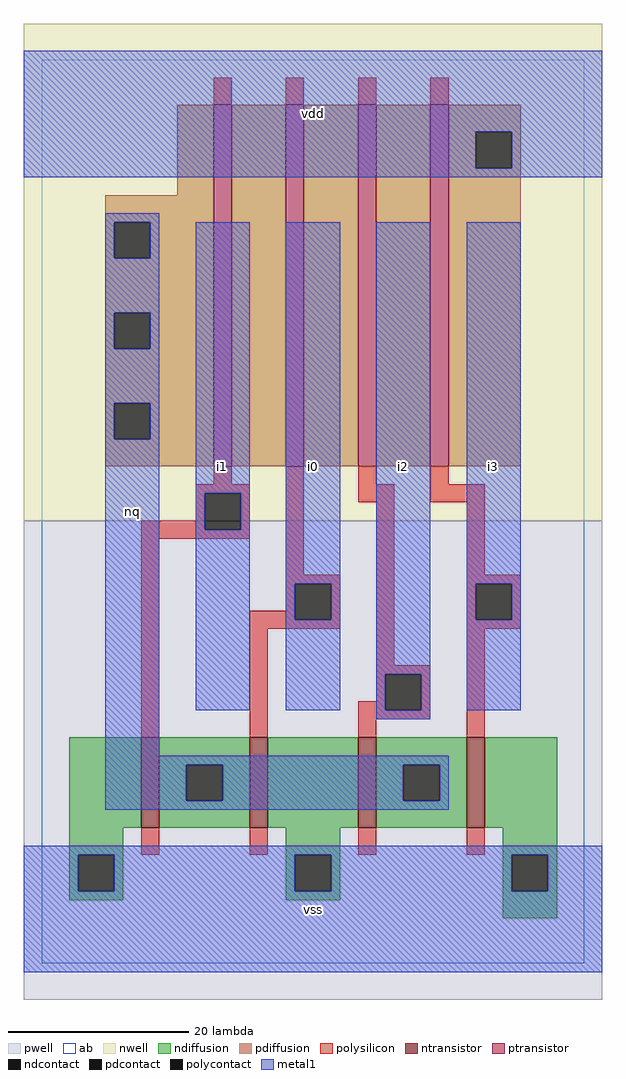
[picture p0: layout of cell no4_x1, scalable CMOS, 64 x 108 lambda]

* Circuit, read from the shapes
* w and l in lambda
.subckt no4_x1 i0 i1 i2 i3 nq vdd vss
M1 nq i1 vss VSUBS nfet w=10 l=2
M2 vss i0 nq VSUBS nfet w=10 l=2
M3 nq i2 vss VSUBS nfet w=10 l=2
M4 vss i3 nq VSUBS nfet w=10 l=2
M5 n1 i1 nq n2 pfet w=40 l=2
M6 n3 i0 n1 n2 pfet w=40 l=2
M7 n4 i2 n3 n2 pfet w=40 l=2
M8 vdd i3 n4 n2 pfet w=40 l=2
.ends

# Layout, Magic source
magic
tech scmos
<< ab >>
rect 0 0 60 100
<< pwell >>
rect -2 -4 62 49
<< nwell >>
rect -2 49 62 104
<< polysilicon >>
rect 19 95 21 98
rect 27 95 29 98
rect 35 95 37 98
rect 43 95 45 98
rect 19 53 21 55
rect 17 52 23 53
rect 17 49 18 52
rect 11 48 18 49
rect 22 48 23 52
rect 11 47 23 48
rect 11 25 13 47
rect 27 43 29 55
rect 35 53 37 55
rect 43 53 45 55
rect 35 51 39 53
rect 43 51 49 53
rect 27 42 33 43
rect 27 39 28 42
rect 23 38 28 39
rect 32 38 33 42
rect 23 37 33 38
rect 23 25 25 37
rect 37 33 39 51
rect 47 43 49 51
rect 47 42 53 43
rect 47 38 48 42
rect 52 38 53 42
rect 47 37 53 38
rect 37 32 43 33
rect 37 29 38 32
rect 35 28 38 29
rect 42 28 43 32
rect 35 27 43 28
rect 35 25 37 27
rect 47 25 49 37
rect 11 12 13 15
rect 23 12 25 15
rect 35 12 37 15
rect 47 12 49 15
<< ndiffusion >>
rect 3 15 11 25
rect 13 22 23 25
rect 13 18 16 22
rect 20 18 23 22
rect 13 15 23 18
rect 25 15 35 25
rect 37 22 47 25
rect 37 18 40 22
rect 44 18 47 22
rect 37 15 47 18
rect 49 15 57 25
rect 3 12 9 15
rect 27 12 33 15
rect 51 12 57 15
rect 3 8 4 12
rect 8 8 9 12
rect 3 7 9 8
rect 27 8 28 12
rect 32 8 33 12
rect 27 7 33 8
rect 51 8 52 12
rect 56 8 57 12
rect 51 5 57 8
<< pdiffusion >>
rect 15 85 19 95
rect 7 82 19 85
rect 7 78 8 82
rect 12 78 19 82
rect 7 72 19 78
rect 7 68 8 72
rect 12 68 19 72
rect 7 62 19 68
rect 7 58 8 62
rect 12 58 19 62
rect 7 55 19 58
rect 21 55 27 95
rect 29 55 35 95
rect 37 55 43 95
rect 45 92 53 95
rect 45 88 48 92
rect 52 88 53 92
rect 45 55 53 88
<< metal1 >>
rect -2 92 62 101
rect -2 88 48 92
rect 52 88 62 92
rect -2 87 62 88
rect 7 82 13 83
rect 7 78 8 82
rect 12 78 13 82
rect 7 72 13 78
rect 7 68 8 72
rect 12 68 13 72
rect 7 62 13 68
rect 7 58 8 62
rect 12 58 13 62
rect 7 23 13 58
rect 17 52 23 82
rect 17 48 18 52
rect 22 48 23 52
rect 17 28 23 48
rect 27 42 33 82
rect 27 38 28 42
rect 32 38 33 42
rect 27 28 33 38
rect 37 32 43 82
rect 37 28 38 32
rect 42 28 43 32
rect 47 42 53 82
rect 47 38 48 42
rect 52 38 53 42
rect 47 28 53 38
rect 37 27 43 28
rect 7 22 45 23
rect 7 18 16 22
rect 20 18 40 22
rect 44 18 45 22
rect 7 17 45 18
rect -2 12 62 13
rect -2 8 4 12
rect 8 8 28 12
rect 32 8 52 12
rect 56 8 62 12
rect -2 -1 62 8
<< ntransistor >>
rect 11 15 13 25
rect 23 15 25 25
rect 35 15 37 25
rect 47 15 49 25
<< ptransistor >>
rect 19 55 21 95
rect 27 55 29 95
rect 35 55 37 95
rect 43 55 45 95
<< polycontact >>
rect 18 48 22 52
rect 28 38 32 42
rect 48 38 52 42
rect 38 28 42 32
<< ndcontact >>
rect 16 18 20 22
rect 40 18 44 22
rect 4 8 8 12
rect 28 8 32 12
rect 52 8 56 12
<< pdcontact >>
rect 8 78 12 82
rect 8 68 12 72
rect 8 58 12 62
rect 48 88 52 92
<< labels >>
rlabel metal1 10 50 10 50 6 nq
rlabel metal1 10 50 10 50 6 nq
rlabel metal1 20 55 20 55 6 i1
rlabel metal1 20 55 20 55 6 i1
rlabel metal1 30 6 30 6 6 vss
rlabel metal1 30 6 30 6 6 vss
rlabel metal1 30 55 30 55 6 i0
rlabel metal1 30 55 30 55 6 i0
rlabel metal1 40 55 40 55 6 i2
rlabel metal1 40 55 40 55 6 i2
rlabel metal1 30 94 30 94 6 vdd
rlabel metal1 30 94 30 94 6 vdd
rlabel metal1 50 55 50 55 6 i3
rlabel metal1 50 55 50 55 6 i3
<< end >>
